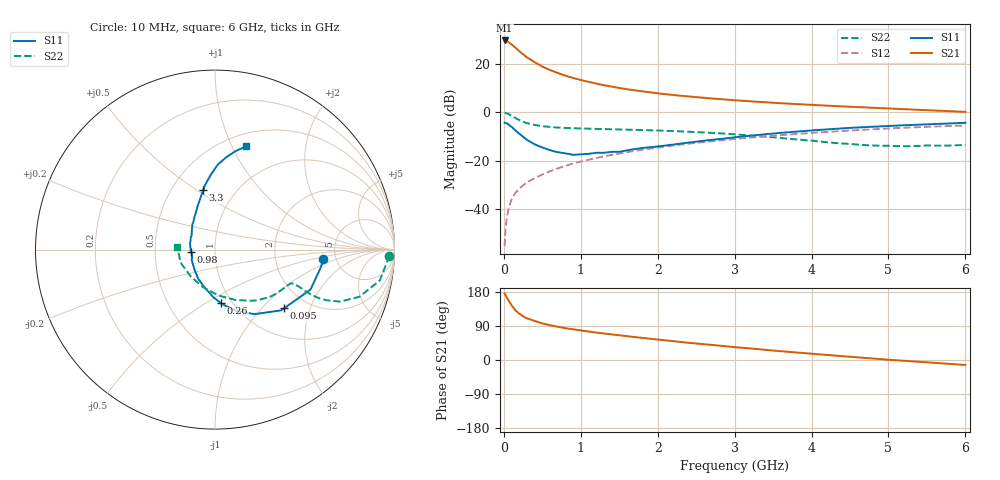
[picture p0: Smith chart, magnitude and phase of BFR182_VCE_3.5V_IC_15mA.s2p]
! Infineon Technologies  Discrete & RF Semiconductors
! BFR182
! VCE =  3.5 V,  IC =  15 mA
! Common Emitter S-Parameters:  Nov 2015
# GHz  S  MA  R  50
!  f  S11  S21  S12  S22
! GHz  MAG  ANG  MAG  ANG  MAG  ANG  MAG  ANG
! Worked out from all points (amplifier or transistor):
!   210 points, 10 MHz to 6 GHz, reference 50 ohm
!   highest |S21| = 29.6 dB at 10 MHz (marker M1)
!   |S21| within 3 dB of that: start of sweep to 150.6 MHz
!   unconditionally stable (mu >= 1): 656.2 MHz to 2.585 GHz
!   at 185 MHz: K = 0.62, MSG = 28.9 dB, |S12| = -32.1 dB
!   at 1.52 GHz: K = 1.05, MAG = 12.1 dB, |S12| = -17.0 dB
!   at 6 GHz: K = 0.89, MSG = 2.8 dB, |S12| = -5.5 dB
!   S11 on the Smith chart (normalised r, x): 10 MHz: 3.97, -0.65; 95 MHz: 1.54, -1.35; 260 MHz: 0.89, -0.58; 980 MHz: 0.76, -0.02; 3.3 GHz: 0.71, +0.53; 6 GHz: 0.63, +1.14
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0.01  0.6064 -4.9  30.25 175.6  0.0017 91.2  0.9727 -2.0
0.02  0.5984 -9.3  30.11 171.4  0.0034 88.4  0.96 -4.3
0.05  0.5768 -22.7  28.86 160.3  0.0083 79.0  0.9343 -10.6
0.095  0.5052 -40.3  25.5 146.0  0.015 74.4  0.8544 -17.3
0.1  0.5006 -42.5  25.24 144.2  0.0157 74.1  0.8463 -18.1
0.15  0.4214 -58.6  21.45 131.0  0.0213 70.2  0.754 -22.6
0.2  0.3603 -71.1  18.2 122.3  0.0262 68.9  0.6841 -24.4
0.26  0.3002 -83.6  15.17 114.3  0.0315 68.8  0.6228 -25.1
0.3  0.2678 -91.4  13.56 109.9  0.0349 69.3  0.5914 -25.1
0.4  0.2169 -106.2  10.69 102.6  0.0433 70.3  0.5412 -24.4
0.5  0.1869 -120.3  8.718 96.4  0.0512 71.2  0.5117 -23.8
0.7  0.149 -145.9  6.433 87.6  0.0685 71.9  0.4794 -23.4
0.8  0.1414 -156.6  5.657 84.0  0.0775 71.3  0.4712 -23.6
0.98  0.1338 -174.4  4.689 78.5  0.0935 71.2  0.4603 -24.5
1.02  0.1352 -178.2  4.522 77.4  0.0969 71.1  0.4582 -24.8
1.4  0.151 153.8  3.355 67.6  0.1306 69.2  0.4427 -28.6
2.02  0.1967 127.7  2.428 53.5  0.1875 64.3  0.4167 -36.8
3.1  0.3137 103.8  1.715 32.3  0.2881 53.7  0.3382 -57.1
3.3  0.3375 101.3  1.634 28.8  0.3067 51.5  0.3192 -62.2
4.1  0.4293 92.0  1.385 14.8  0.3811 42.5  0.2474 -89.1
5.1  0.5271 82.0  1.175 -0.6  0.4673 30.1  0.1987 -137.5
6  0.6014 73.1  1.012 -13.1  0.5284 17.8  0.2107 176.4
